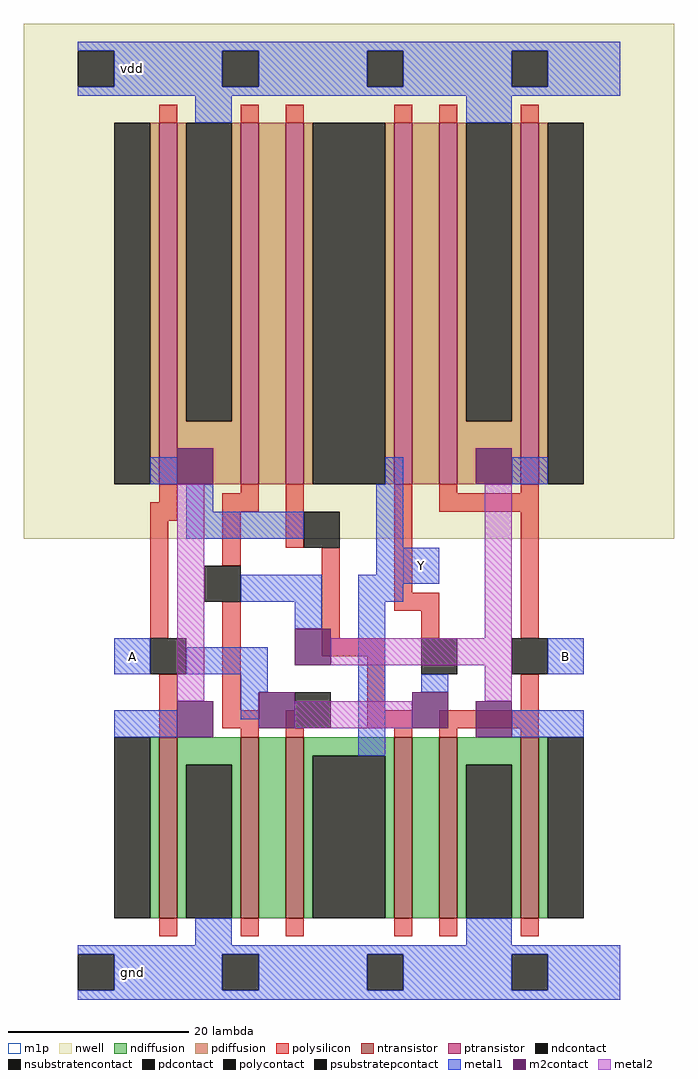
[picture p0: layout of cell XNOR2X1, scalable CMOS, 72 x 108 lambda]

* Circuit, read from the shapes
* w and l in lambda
.subckt XNOR2X1 A B Y gnd vdd
M1 gnd A n1 gnd nfet w=20 l=2
M2 n2 n3 gnd gnd nfet w=20 l=2
M3 Y A n2 gnd nfet w=20 l=2
M4 n4 n1 Y gnd nfet w=20 l=2
M5 gnd B n4 gnd nfet w=20 l=2
M6 n3 B gnd gnd nfet w=20 l=2
M7 vdd A n1 vdd pfet w=40 l=2
M8 n5 n3 vdd vdd pfet w=40 l=2
M9 Y n1 n5 vdd pfet w=40 l=2
M10 n6 A Y vdd pfet w=40 l=2
M11 vdd B n6 vdd pfet w=40 l=2
M12 n3 B vdd vdd pfet w=40 l=2
.ends

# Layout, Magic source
magic
tech scmos
<< nwell >>
rect -8 48 64 105
<< ntransistor >>
rect 7 6 9 26
rect 16 6 18 26
rect 21 6 23 26
rect 33 6 35 26
rect 38 6 40 26
rect 47 6 49 26
<< ptransistor >>
rect 7 54 9 94
rect 16 54 18 94
rect 21 54 23 94
rect 33 54 35 94
rect 38 54 40 94
rect 47 54 49 94
<< ndiffusion >>
rect 6 6 7 26
rect 9 23 16 26
rect 9 6 10 23
rect 15 6 16 23
rect 18 6 21 26
rect 23 24 33 26
rect 23 6 24 24
rect 32 6 33 24
rect 35 6 38 26
rect 40 23 47 26
rect 40 6 41 23
rect 46 6 47 23
rect 49 6 50 26
<< pdiffusion >>
rect 6 54 7 94
rect 9 61 10 94
rect 15 61 16 94
rect 9 54 16 61
rect 18 54 21 94
rect 23 54 24 94
rect 32 54 33 94
rect 35 54 38 94
rect 40 61 41 94
rect 46 61 47 94
rect 40 54 47 61
rect 49 54 50 94
<< ndcontact >>
rect 2 6 6 26
rect 10 6 15 23
rect 24 6 32 24
rect 41 6 46 23
rect 50 6 54 26
<< pdcontact >>
rect 2 54 6 94
rect 10 61 15 94
rect 24 54 32 94
rect 41 61 46 94
rect 50 54 54 94
<< psubstratepcontact >>
rect -2 -2 2 2
rect 14 -2 18 2
rect 30 -2 34 2
rect 46 -2 50 2
<< nsubstratencontact >>
rect -2 98 2 102
rect 14 98 18 102
rect 30 98 34 102
rect 46 98 50 102
<< polysilicon >>
rect 7 94 9 96
rect 16 94 18 96
rect 21 94 23 96
rect 33 94 35 96
rect 38 94 40 96
rect 47 94 49 96
rect 7 52 9 54
rect 16 53 18 54
rect 6 50 9 52
rect 14 51 18 53
rect 6 37 8 50
rect 14 45 16 51
rect 21 47 23 54
rect 7 26 9 33
rect 14 29 16 41
rect 25 37 27 47
rect 33 42 35 54
rect 38 53 40 54
rect 47 53 49 54
rect 38 51 49 53
rect 33 40 38 42
rect 36 37 38 40
rect 47 37 49 51
rect 25 35 32 37
rect 14 27 18 29
rect 16 26 18 27
rect 21 27 22 29
rect 30 29 32 35
rect 47 29 49 33
rect 30 27 35 29
rect 21 26 23 27
rect 33 26 35 27
rect 38 27 49 29
rect 38 26 40 27
rect 47 26 49 27
rect 7 4 9 6
rect 16 4 18 6
rect 21 4 23 6
rect 33 4 35 6
rect 38 4 40 6
rect 47 4 49 6
<< polycontact >>
rect 23 47 27 51
rect 12 41 16 45
rect 6 33 10 37
rect 22 27 26 31
rect 36 33 40 37
rect 46 33 50 37
<< metal1 >>
rect -2 102 58 103
rect 2 98 14 102
rect 18 98 30 102
rect 34 98 46 102
rect 50 98 58 102
rect -2 97 58 98
rect 11 94 15 97
rect 41 94 46 97
rect 6 54 9 57
rect 32 54 34 57
rect 46 54 50 57
rect 10 51 13 54
rect 10 48 23 51
rect 31 47 34 54
rect 31 44 38 47
rect 16 41 25 44
rect 22 38 25 41
rect 29 43 38 44
rect 29 41 34 43
rect 2 33 6 37
rect 10 33 19 36
rect 16 31 19 33
rect 2 26 9 29
rect 16 28 18 31
rect 29 24 32 41
rect 50 33 54 37
rect 36 31 39 33
rect 46 26 54 29
rect 11 3 15 6
rect 41 3 46 6
rect -2 2 58 3
rect 2 -2 14 2
rect 18 -2 30 2
rect 34 -2 46 2
rect 50 -2 58 2
rect -2 -3 58 -2
<< m2contact >>
rect 9 54 13 58
rect 42 54 46 58
rect 22 34 26 38
rect 9 26 13 30
rect 18 27 22 31
rect 35 27 39 31
rect 42 26 46 30
<< metal2 >>
rect 9 30 12 54
rect 43 37 46 54
rect 26 34 46 37
rect 22 27 35 30
rect 43 30 46 34
<< m1p >>
rect 34 43 38 47
rect 2 33 6 37
rect 50 33 54 37
<< labels >>
rlabel metal1 4 35 4 35 1 A
rlabel metal1 52 35 52 35 1 B
rlabel metal1 4 0 4 0 1 gnd
rlabel metal1 4 100 4 100 5 vdd
rlabel metal1 36 45 36 45 1 Y
<< end >>
